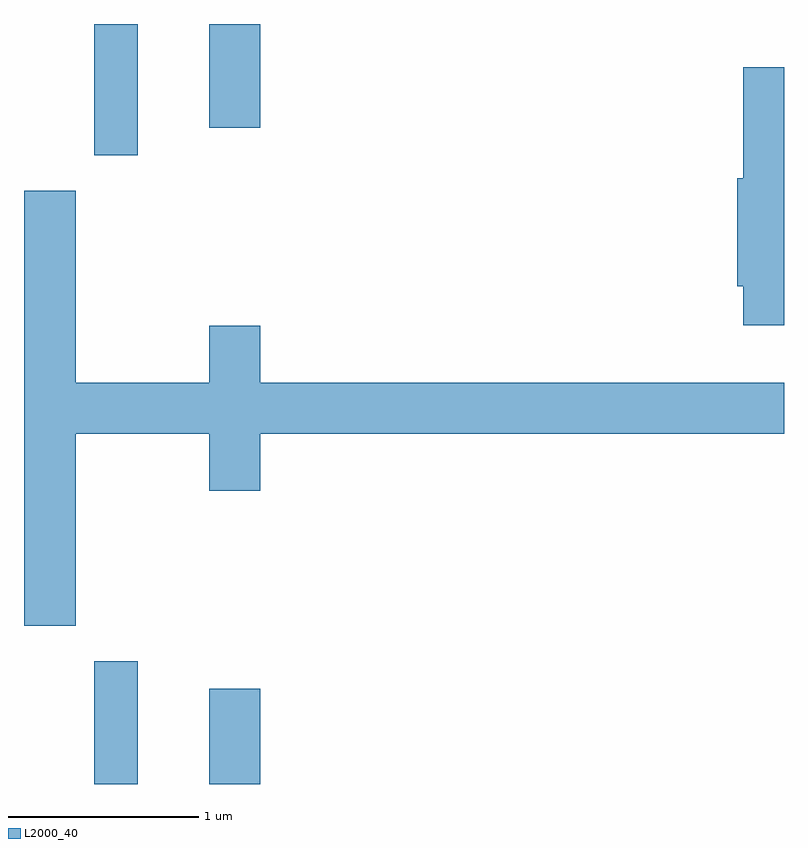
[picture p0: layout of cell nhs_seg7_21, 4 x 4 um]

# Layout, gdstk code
import gdstk
lib = gdstk.Library(unit=1e-6, precision=1e-09)
def R(c, l, rs):  # rectangles x0, y0, x1, y1
    for r in rs: c.add(gdstk.rectangle(r[:2], r[2:], *l))
def P(c, l, *ps):  # polygons
    for p in ps: c.add(gdstk.Polygon(p, *l))
L2000_40 = (2000, 40)

nhs_seg7_21 = lib.new_cell('nhs_seg7_21')
R(nhs_seg7_21, L2000_40, [(185.981,1710.252,186.209,1710.899), (186.586,1710.252,186.854,1710.754), (185.981,1713.561,186.209,1714.252), (186.586,1713.706,186.854,1714.252)])
P(nhs_seg7_21, L2000_40, [(189.611,1714.024),(189.396,1714.024),(189.396,1713.439),(189.366,1713.439),(189.366,1712.871),(189.396,1712.871),(189.396,1712.666),(189.611,1712.666)],
  [(185.884,1712.096),(186.586,1712.096),(186.586,1711.796),(186.854,1711.796),(186.854,1712.096),(189.611,1712.096),(189.611,1712.364),(186.854,1712.364),(186.854,1712.664),(186.586,1712.664),(186.586,1712.364),(185.884,1712.364),(185.884,1713.374),(185.611,1713.374),(185.611,1711.086),(185.884,1711.086)])

lib.write_gds('nhs_seg7_21.gds')
